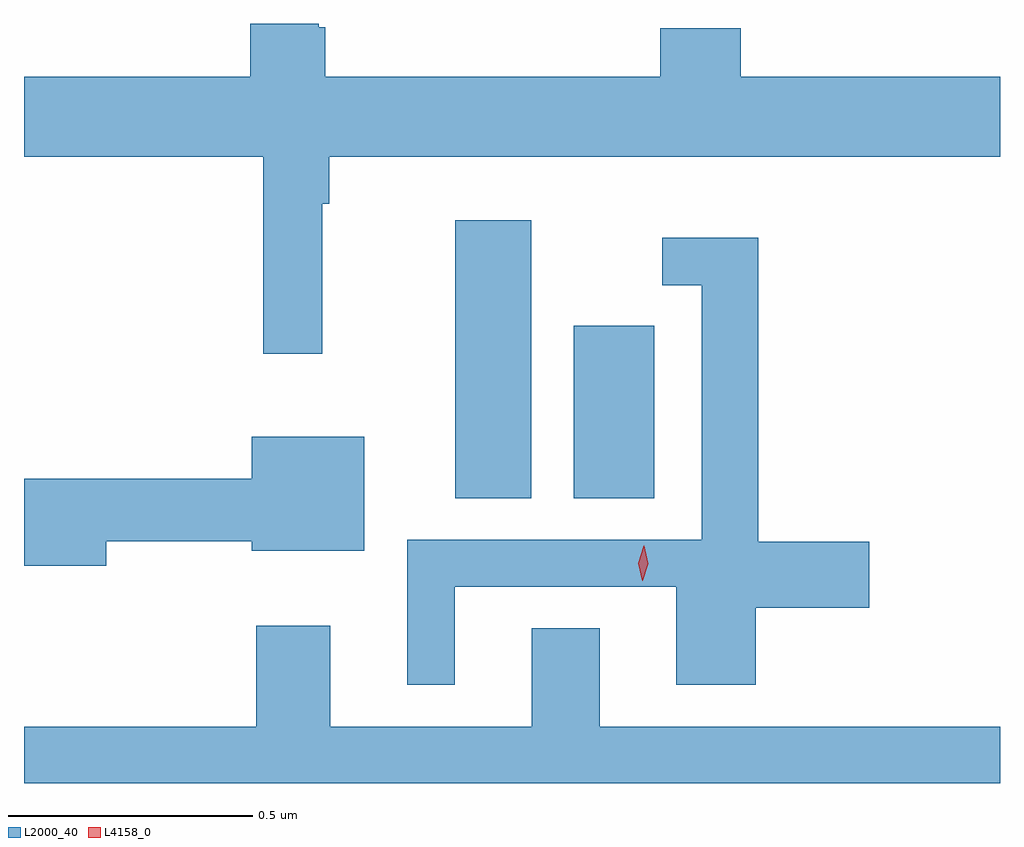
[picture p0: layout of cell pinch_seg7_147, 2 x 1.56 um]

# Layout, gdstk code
import gdstk
lib = gdstk.Library(unit=1e-6, precision=1e-09)
def R(c, l, rs):  # rectangles x0, y0, x1, y1
    for r in rs: c.add(gdstk.rectangle(r[:2], r[2:], *l))
def P(c, l, *ps):  # polygons
    for p in ps: c.add(gdstk.Polygon(p, *l))
L2000_40 = (2000, 40)
L4158_0 = (4158, 0)

pinch_seg7_147 = lib.new_cell('pinch_seg7_147')
R(pinch_seg7_147, L2000_40, [(1068.425,998.584,1068.58,999.154), (1068.668,998.584,1068.832,998.938)])
P(pinch_seg7_147, L2000_40, [(1068.152,999.188),(1068.167,999.188),(1068.167,999.284),(1069.541,999.284),(1069.541,999.448),(1069.01,999.448),(1069.01,999.547),(1068.845,999.547),(1068.845,999.448),(1068.158,999.448),(1068.158,999.549),(1068.145,999.549),(1068.145,999.557),(1068.005,999.557),(1068.005,999.448),(1067.541,999.448),(1067.541,999.284),(1068.031,999.284),(1068.031,998.88),(1068.152,998.88)],
  [(1068.424,998.403),(1068.878,998.403),(1068.878,998.202),(1069.04,998.202),(1069.04,998.36),(1069.273,998.36),(1069.273,998.495),(1069.046,998.495),(1069.046,999.118),(1068.849,999.118),(1068.849,999.021),(1068.93,999.021),(1068.93,998.499),(1068.326,998.499),(1068.326,998.202),(1068.424,998.202)],
  [(1067.71,998.496),(1068.008,998.496),(1068.008,998.477),(1068.238,998.477),(1068.238,998.71),(1068.008,998.71),(1068.008,998.624),(1067.541,998.624),(1067.541,998.446),(1067.71,998.446)],
  [(1069.541,998.116),(1068.721,998.116),(1068.721,998.318),(1068.581,998.318),(1068.581,998.116),(1068.169,998.116),(1068.169,998.323),(1068.017,998.323),(1068.017,998.116),(1067.541,998.116),(1067.541,998),(1069.541,998)])
P(pinch_seg7_147, L4158_0, [(1068.808,998.415),(1068.808,998.415),(1068.8,998.451),(1068.811,998.487),(1068.811,998.487),(1068.812,998.487),(1068.82,998.45),(1068.809,998.415)])

lib.write_gds('pinch_seg7_147.gds')
